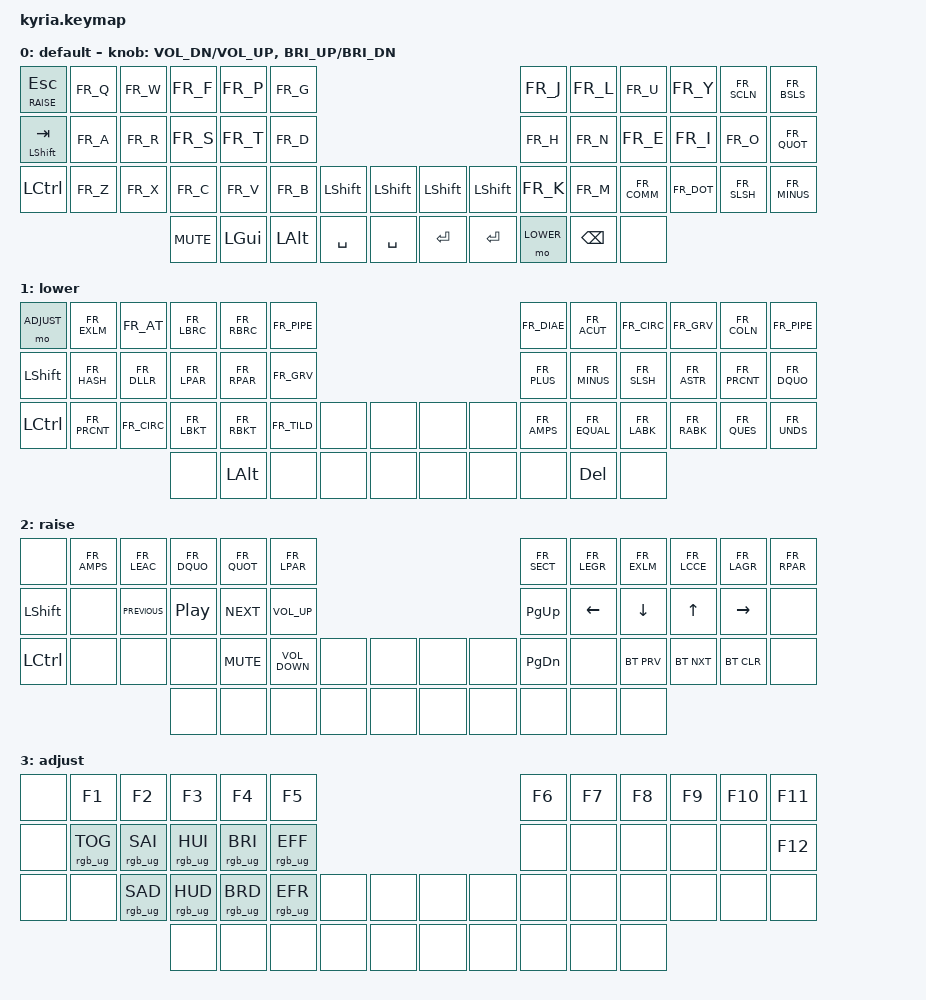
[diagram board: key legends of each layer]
/*
 * Copyright (c) 2020 The ZMK Contributors
 *
 * SPDX-License-Identifier: MIT
 */

#include <behaviors.dtsi>
#include <dt-bindings/zmk/keys.h>
#include <dt-bindings/zmk/bt.h>
#include <dt-bindings/zmk/rgb.h>
#include "keymap_french_osx.h"

#define DEFAULT 0
#define LOWER   1
#define RAISE   2
#define ADJUST  3


/ {

        keymap {
                compatible = "zmk,keymap";

                default_layer {
                        label = " default";

// ---------------------------------------------------------------------------------------------------
// | RSE/ESC  |  Q  |  W  |  F  |  P  |  G  |                 |  J  |  L   |  U   |  Y  |  ;  |  \   |
// | SHFT/TAB |  A  |  R  |  S  |  T  |  D  |                 |  H  |  N   |  E   |  I  |  O  |  '   |
// | CTRL     |  Z  |  X  |  C  |  V  |  B  |  |  |  |  |  |  |  N  |  M   |  ,   |  .  |  /  |  -   |
//                        | GUI | ALT | SPC |  |  |  |  |  |  | ENT | LWR  | BKSP |
                        bindings = <
   &lt RAISE ESC &kp FR_Q    &kp FR_W     &kp FR_F      &kp FR_P      &kp FR_G                                            &kp FR_J   &kp FR_L     &kp FR_U     &kp FR_Y   &kp FR_SCLN &kp FR_BSLS
   &mt LSHFT TAB &kp FR_A    &kp FR_R     &kp FR_S      &kp FR_T      &kp FR_D                                            &kp FR_H   &kp FR_N     &kp FR_E     &kp FR_I   &kp FR_O    &kp FR_QUOT
   &kp LCTRL     &kp FR_Z    &kp FR_X     &kp FR_C      &kp FR_V      &kp FR_B  &kp LSHFT &kp LSHFT   &kp LSHFT &kp LSHFT &kp FR_K   &kp FR_M     &kp FR_COMM  &kp FR_DOT &kp FR_SLSH &kp FR_MINUS
                                          &kp C_MUTE    &kp LGUI      &kp LALT  &kp SPACE &kp SPACE   &kp RET   &kp RET   &mo LOWER  &kp BSPC     &none
                        >;
			sensor-bindings = <&inc_dec_kp C_VOL_DN C_VOL_UP &inc_dec_kp C_BRI_UP C_BRI_DN>;

                };
                lower_layer {
                        label = " lower";

// ---------------------------------------------------------------------------------------------
// | ADJUST   |  !  |  @  |  {  |  }  |  |  |              |  ¨  |  ´  |  ^  |  `  |  :  |  |  |
// | SHFT/TAB |  #  |  $  |  (  |  )  |  `  |              |  +  |  -  |  /  |  *  |  %  |  "  |
// | CTRL     |  %  |  ^  |  [  |  ]  |  ~  |  |  |  |  |  |  &  |  =  |  <  |  >  |  ?  |  _  |
//                        | ALT |     |     |  |  |  |  |  |     |     | DEL |
                        bindings = <
   &mo ADJUST &kp FR_EXLM  &kp FR_AT   &kp FR_LBRC  &kp FR_RBRC  &kp FR_PIPE                           &kp FR_DIAE &kp FR_ACUT  &kp FR_CIRC &kp FR_GRV  &kp FR_COLN  &kp FR_PIPE
   &kp LSHFT  &kp FR_HASH  &kp FR_DLLR &kp FR_LPAR  &kp FR_RPAR  &kp FR_GRV                            &kp FR_PLUS &kp FR_MINUS &kp FR_SLSH &kp FR_ASTR &kp FR_PRCNT &kp FR_DQUO
   &kp LCTRL  &kp FR_PRCNT &kp FR_CIRC &kp FR_LBKT  &kp FR_RBKT  &kp FR_TILD &none &none   &none &none &kp FR_AMPS &kp FR_EQUAL &kp FR_LABK &kp FR_RABK &kp FR_QUES  &kp FR_UNDS
                                       &none        &kp LALT     &none       &none &none   &none &none &none       &kp DEL      &none
                        >;
                };
                
                raise_layer {
                        label = " raise";

// -------------------------------------------------------------------------------------------------------------------------
// |  |  &/1  |  é/2   |  "/3   |  '/4   |  (/5    |                |  §/6    |  è/7  |  !/8     |  ç/9     |  à/0   | )/° |
// |  |       | Prev   | Play   | Next   | VolUp   |                | PG_UP   | LFT   | DWN      |  UP      | RGT    |     |
// |  |       |        |        | Mute   | VolDn   |  |  |  |  |  | | PG_DN   |       | BT_PRV   | BT_NXT   | BT_CLR |     |
//                     |        |        |         |  |  |  |  |  | |         |       |          |
                        bindings = <
   &none     &kp FR_AMPS &kp FR_LEAC    &kp FR_DQUO      &kp FR_QUOT  &kp FR_LPAR                                 &kp FR_SECT  &kp FR_LEGR  &kp FR_EXLM  &kp FR_LCCE &kp FR_LAGR &kp FR_RPAR
   &kp LSHFT &none       &kp C_PREVIOUS &kp C_PLAY_PAUSE &kp C_NEXT   &kp C_VOLUME_UP                             &kp PG_UP    &kp LEFT     &kp DOWN     &kp UP      &kp RIGHT   &none
   &kp LCTRL &none       &none          &none            &kp C_MUTE   &kp C_VOLUME_DOWN &none &none   &none &none &kp PG_DN    &none        &bt BT_PRV   &bt BT_NXT  &bt BT_CLR  &none
                                        &none            &none        &none             &none &none   &none &none &none        &none        &none
                        >;
                };

                adjust_layer {
                        label = " adjust";

// --------------------------------------------------------------------------------------------------------------------------------
// |  | F1      | F2      | F3      | F4      | F5      |              | F6 | F7 | F8 | F9 | F10 | F11 |
// |  | RGB_TOG | RGB_SAI | RGB_HUI | RGB_BRI | RGB_EFF |              |    |    |    |    |     | F12 |
// |  | PWR_TOG | RGB_SAD | RGB_HUD | RGB_BRD | RGB_EFR |  |  |  |  |  |    |    |    |    |     |     |
//                        |         |         |         |  |  |  |  |  |    |    |    |
                        bindings = <
   &none  &kp F1           &kp F2          &kp F3          &kp F4          &kp F5                                  &kp F6  &kp F7 &kp F8 &kp F9 &kp F10 &kp F11
   &none  &rgb_ug RGB_TOG  &rgb_ug RGB_SAI &rgb_ug RGB_HUI &rgb_ug RGB_BRI &rgb_ug RGB_EFF                         &none   &none  &none  &none  &none   &kp F12
   &none  &none            &rgb_ug RGB_SAD &rgb_ug RGB_HUD &rgb_ug RGB_BRD &rgb_ug RGB_EFR &none &none &none &none &none   &none  &none  &none  &none   &none
                                            &none           &none           &none           &none &none &none &none &none   &none  &none
                        >;
                };
        };
};
